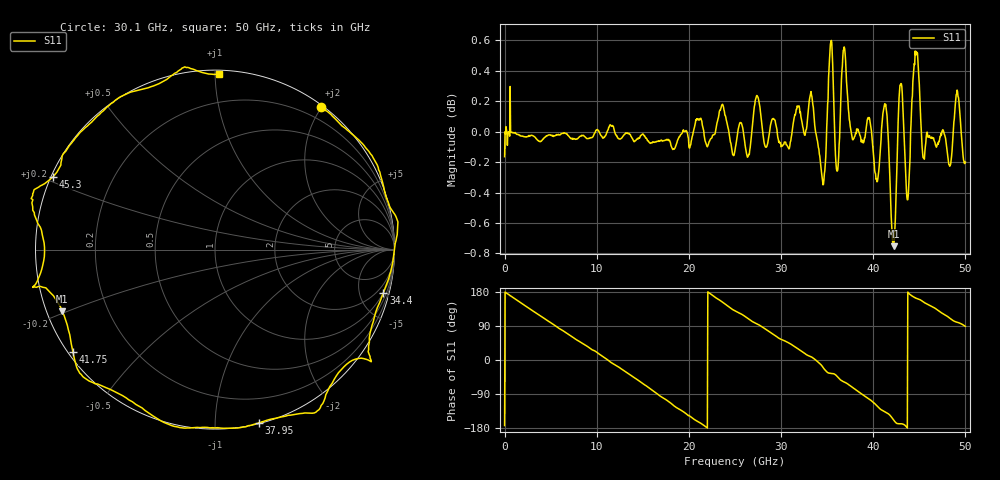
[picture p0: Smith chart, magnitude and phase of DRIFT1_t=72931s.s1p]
!Created with skrf (http://scikit-rf.org).
# Hz S RI R 50.0
!freq ReS11 ImS11
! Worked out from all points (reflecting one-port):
!   1001 points, 300 kHz to 50 GHz, reference 50 ohm
!   lowest |S11| = -0.8 dB at 42.2 GHz (marker M1), VSWR 23.11, Z = 2.25 - j9.69 ohm
!   phase of S11 starts at -173 deg and turns -818 deg over the sweep
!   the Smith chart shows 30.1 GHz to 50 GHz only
!   S11 on the Smith chart (normalised r, x): 30.1 GHz: 0.03, +1.99; 34.4 GHz: 0.99, -7.78; 37.95 GHz: 0.01, -1.28; 41.75 GHz: 0.01, -0.32; 45.3 GHz: 0.01, +0.22; 50 GHz: 0.02, +1.02
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300000  -0.9738 -0.1211
1.450291e9  -0.9126 0.404
3.25028e9  -0.5931 0.8003
6.250262e9  0.1988 0.9787
9.500243e9  0.8876 0.4511
1.250022e10  0.9301 -0.3518
1.580021e10  0.2422 -0.9611
1.74002e10  -0.223 -0.968
1.875019e10  -0.5988 -0.7924
2.165017e10  -0.9897 -0.1217
2.345016e10  -0.9299 0.4128
2.500015e10  -0.6271 0.7609
2.745014e10  -0.0827 1.024
3.010012e10  0.5912 0.7931
3.125011e10  0.7811 0.6285
3.31501e10  1.013 0.1721
3.440009e10  0.9384 -0.2412
3.520009e10  0.8639 -0.5949
3.750008e10  0.3767 -0.931
3.795007e10  0.2426 -0.9661
3.965006e10  -0.2546 -0.9751
4.175005e10  -0.7919 -0.569
4.220005e10  -0.8504 -0.3431
4.290004e10  -1.014 -0.2111
4.375004e10  -0.9498 0.0126
4.530003e10  -0.9012 0.4066
4.765001e10  -0.5133 0.8579
5e10  0.0199 0.9771
